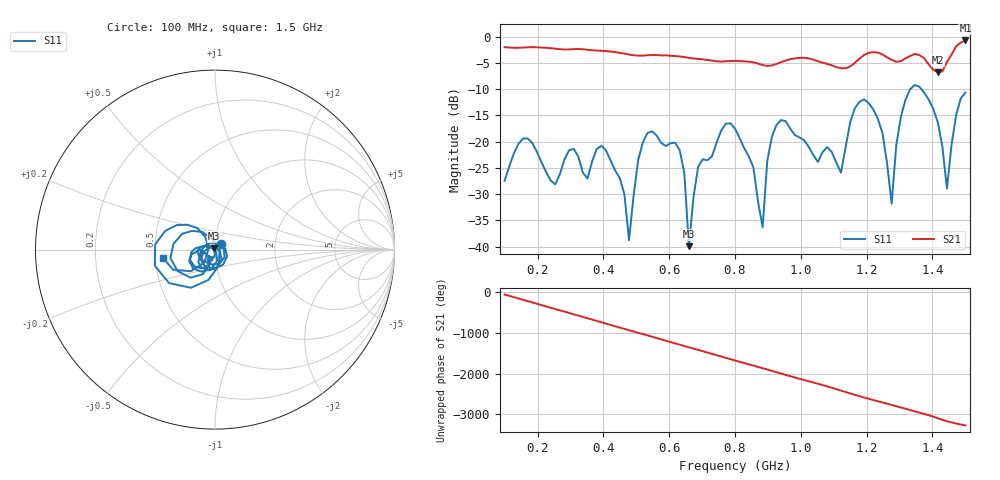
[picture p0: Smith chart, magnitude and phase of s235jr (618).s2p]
! NanoVNA-App
! Date: 2025-09-25 15:08:59
! Start: 100MHz Stop: 1,5GHz Points: 101
! S-Parameter data: F S11 S21 S12 S22
# Hz S RI R 50
!  Frequency  S11_Real  S11_Imag  S21_Real  S21_Imag  S12_Real  S12_Imag  S22_Real  S22_Imag
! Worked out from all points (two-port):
!   101 points, 100 MHz to 1.5 GHz, reference 50 ohm
!   highest |S21| = -0.69 dB at 1.5 GHz (marker M1); lowest = -6.8 dB at 1.416 GHz (marker M2)
!   |S21| within 3 dB of the highest: start of sweep to 622.6 MHz; 1.188 GHz to 1.256 GHz (68.72 MHz wide, 5.62 % of centre) (the widest 2 of 4)
!   lowest |S11| = -39.9 dB at 660 MHz (marker M3), VSWR 1.02, Z = 49.2 + j0.634 ohm
!   |S11| at or under -10 dB: start of sweep to 1.332 GHz; 1.366 GHz to end of sweep
!   S12 and S22 are empty: the file has one direction only
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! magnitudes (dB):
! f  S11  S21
! 100 MHz  -27.5  -2.0
! 156 MHz  -19.4  -2.0
! 338 MHz  -26.0  -2.4
! 408 MHz  -21.7  -2.7
! 478 MHz  -38.8  -3.4
! 520 MHz  -20.1  -3.6
! 576 MHz  -20.3  -3.5
! 632 MHz  -21.6  -3.7
! 660 MHz  -39.9  -4.0
! 688 MHz  -24.8  -4.2
! 800 MHz  -17.5  -4.6
! 884 MHz  -36.3  -5.4
! 926 MHz  -16.8  -5.2
! 1.038 GHz  -22.6  -4.4
! 1.122 GHz  -25.9  -6.0
! 1.192 GHz  -11.9  -3.5
! 1.248 GHz  -18.3  -3.4
! 1.276 GHz  -31.8  -4.4
! 1.332 GHz  -10.0  -3.7
! 1.416 GHz  -16.2  -6.8
! 1.444 GHz  -29.0  -4.8
! 1.5 GHz  -10.6  -0.7
